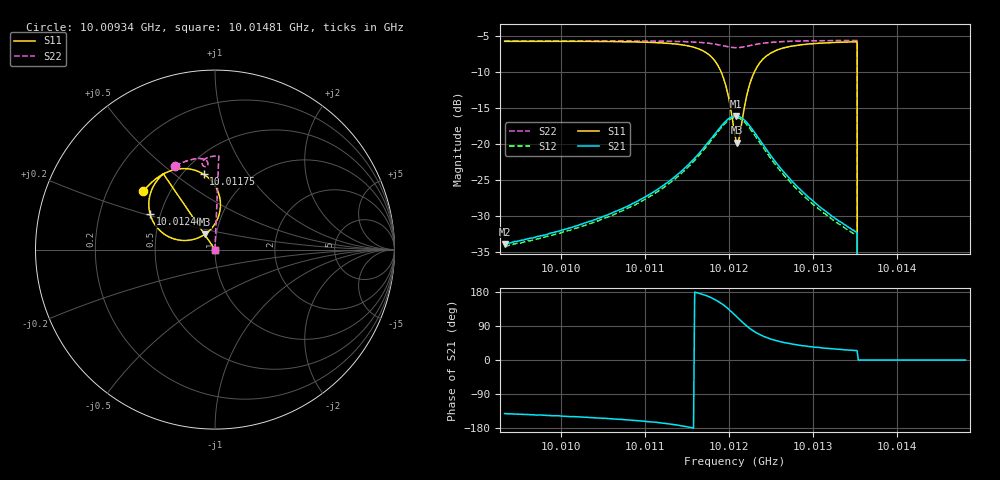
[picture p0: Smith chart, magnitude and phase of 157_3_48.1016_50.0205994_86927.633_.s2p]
#  HZ  S  RI  R  50.00
! Rohde & Schwarz Vector Network Analyzer
! Rohde-Schwarz,ZNB20-2Port,1311601062101988,3.16
! Created: UTC 12/23/2023, 3:50:23 AM
! freq[Hz]  re:S11  im:S11  re:S21  im:S21  re:S12  im:S12  re:S22  im:S22
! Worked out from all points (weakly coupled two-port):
!   401 points, 10.00934 GHz to 10.01481 GHz, reference 50 ohm
!   highest |S21| = -16.09 dB at 10.01209 GHz (marker M1); lowest = -33.8 dB at 10.00934 GHz (marker M2)
!   lowest |S11| = -19.8 dB at 10.0121 GHz (marker M3), VSWR 1.23, Z = 44 + j7.59 ohm
!   |S11| at or under -10 dB: 10.01191 GHz to 10.0123 GHz (395.5 kHz wide, 0.00395 % of centre); 10.01353 GHz to end of sweep
!   |S22| runs from - to -5.6 dB; largest |S21 - S12| = 0.008
!   S11 on the Smith chart (normalised r, x): 10.00934 GHz: 0.36, +0.31; 10.01175 GHz: 0.63, +0.64; 10.01246 GHz: 0.44, +0.21; 10.01481 GHz: 1.00, +0.00
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1.0009335e10  -0.399 0.3248  -0.0159 -0.0127  -0.0148 -0.013  -0.2213 0.4681
1.0010253e10  -0.3441 0.3821  -0.0243 -0.0137  -0.0229 -0.0143  -0.1648 0.4917
1.001117e10  -0.2442 0.4402  -0.0477 -0.0126  -0.0453 -0.0142  -0.101 0.5068
1.0011499e10  -0.1669 0.4515  -0.07 -0.00489  -0.0672 -0.00843  -0.0739 0.5068
1.0011745e10  -0.0629 0.4194  -0.099 0.0195  -0.0969 0.0139  -0.0506 0.4984
1.0011855e10  -0.00425 0.3628  -0.112 0.0475  -0.1111 0.0403  -0.0419 0.4886
1.0011937e10  0.0274 0.2857  -0.1141 0.0789  -0.1147 0.0722  -0.0393 0.4778
1.0011992e10  0.0276 0.2167  -0.106 0.1047  -0.1078 0.0978  -0.0415 0.4701
1.0012074e10  -0.0251 0.1119  -0.0742 0.1381  -0.0778 0.1314  -0.0511 0.4625
1.0012088e10  -0.0403 0.0976  -0.067 0.1418  -0.0702 0.1356  -0.0532 0.4622
1.0012101e10  -0.0564 0.0852  -0.0596 0.1448  -0.0631 0.1387  -0.0553 0.462
1.0012129e10  -0.0926 0.0658  -0.0443 0.1482  -0.0478 0.1426  -0.0595 0.4628
1.0012211e10  -0.2065 0.0541  -2.86e-05 0.1419  -0.00468 0.137  -0.0689 0.4707
1.0012266e10  -0.2673 0.0765  0.0211 0.128  0.0158 0.124  -0.0711 0.4784
1.0012348e10  -0.3271 0.1285  0.0387 0.1042  0.0339 0.1009  -0.0695 0.4891
1.0012457e10  -0.3613 0.1969  0.047 0.0768  0.042 0.0751  -0.0622 0.4999
1.001269e10  -0.3641 0.2963  0.0433 0.0425  0.0393 0.0425  -0.0424 0.5123
1.0012992e10  -0.3371 0.3635  0.0337 0.0232  0.0308 0.0235  -0.018 0.5187
1.0013498e10  -0.2903 0.4203  0.0225 0.0107  0.021 0.0111  0.0192 0.5217
1.0013567e10  0 0  0 0  0 0  0 0
1.0013909e10  0 0  0 0  0 0  0 0
1.0014813e10  0 0  0 0  0 0  0 0
